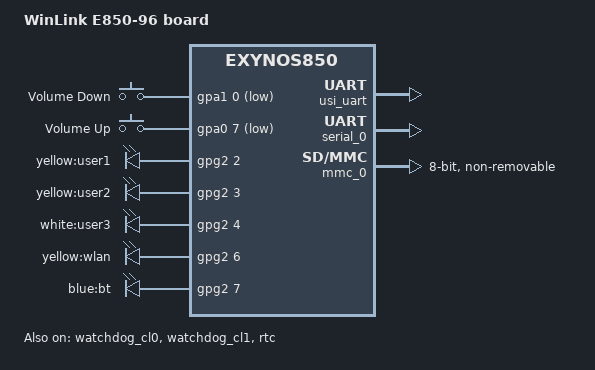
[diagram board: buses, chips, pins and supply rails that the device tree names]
// SPDX-License-Identifier: GPL-2.0
/*
 * WinLink E850-96 board device tree source
 *
 * Copyright (C) 2018 Samsung Electronics Co., Ltd.
 * Copyright (C) 2021 Linaro Ltd.
 *
 * Device tree source file for WinLink's E850-96 board which is based on
 * Samsung Exynos850 SoC.
 */

/dts-v1/;

#include "exynos850.dtsi"
#include <dt-bindings/gpio/gpio.h>
#include <dt-bindings/input/input.h>

#define BOARD_ID	0x0
#define BOARD_REV	0x2

/ {
	model = "WinLink E850-96 board";
	compatible = "winlink,e850-96", "samsung,exynos850";
	board_id = <BOARD_ID>;
	board_rev = <BOARD_REV>;

	chosen {
		stdout-path = &serial_0;
	};

	gpio-keys {
		compatible = "gpio-keys";
		pinctrl-names = "default";
		pinctrl-0 = <&key_voldown_pins &key_volup_pins>;

		volume-down-key {
			label = "Volume Down";
			linux,code = <KEY_VOLUMEDOWN>;
			gpios = <&gpa1 0 GPIO_ACTIVE_LOW>;
		};

		volume-up-key {
			label = "Volume Up";
			linux,code = <KEY_VOLUMEUP>;
			gpios = <&gpa0 7 GPIO_ACTIVE_LOW>;
		};
	};

	leds {
		compatible = "gpio-leds";

		/* HEART_BEAT_LED */
		user_led1: led-1 {
			label = "yellow:user1";
			gpios = <&gpg2 2 GPIO_ACTIVE_HIGH>;
			linux,default-trigger = "heartbeat";
		};

		/* eMMC_LED */
		user_led2: led-2 {
			label = "yellow:user2";
			gpios = <&gpg2 3 GPIO_ACTIVE_HIGH>;
			linux,default-trigger = "mmc0";
		};

		/* SD_LED */
		user_led3: led-3 {
			label = "white:user3";
			gpios = <&gpg2 4 GPIO_ACTIVE_HIGH>;
			linux,default-trigger = "mmc2";
		};

		/* WIFI_LED */
		wlan_active_led: led-4 {
			label = "yellow:wlan";
			gpios = <&gpg2 6 GPIO_ACTIVE_HIGH>;
			linux,default-trigger = "phy0tx";
			default-state = "off";
		};

		/* BLUETOOTH_LED */
		bt_active_led: led-5 {
			label = "blue:bt";
			gpios = <&gpg2 7 GPIO_ACTIVE_HIGH>;
			linux,default-trigger = "hci0rx";
			default-state = "off";
		};
	};
};

&oscclk {
	clock-frequency = <26000000>;
};

&rtcclk {
	clock-frequency = <32768>;
};

&usi_uart {
	samsung,clkreq-on; /* needed for UART mode */
	status = "okay";
};

&serial_0 {
	status = "okay";
	pinctrl-names = "default";
	pinctrl-0 = <&uart1_pins>;
};

&watchdog_cl0 {
	status = "okay";
};

&watchdog_cl1 {
	status = "okay";
};

&rtc {
	status = "okay";
};

&mmc_0 {
	status = "okay";
	mmc-hs200-1_8v;
	mmc-hs400-1_8v;
	cap-mmc-highspeed;
	non-removable;
	broken-cd;
	mmc-hs400-enhanced-strobe;
	card-detect-delay = <200>;
	clock-frequency = <800000000>;
	bus-width = <8>;
	samsung,dw-mshc-ciu-div = <3>;
	samsung,dw-mshc-sdr-timing = <0 4>;
	samsung,dw-mshc-ddr-timing = <2 4>;
	samsung,dw-mshc-hs400-timing = <0 2>;

	pinctrl-names = "default";
	pinctrl-0 = <&sd0_clk_pins &sd0_cmd_pins &sd0_rdqs_pins &sd0_nreset_pins
		     &sd0_bus1_pins &sd0_bus4_pins &sd0_bus8_pins>;
};

&pinctrl_alive {
	key_voldown_pins: key-voldown-pins {
		samsung,pins = "gpa1-0";
		samsung,pin-function = <EXYNOS_PIN_FUNC_EINT>;
		samsung,pin-pud = <EXYNOS_PIN_PULL_NONE>;
		samsung,pin-drv = <EXYNOS5420_PIN_DRV_LV1>;
	};

	key_volup_pins: key-volup-pins {
		samsung,pins = "gpa0-7";
		samsung,pin-function = <EXYNOS_PIN_FUNC_EINT>;
		samsung,pin-pud = <EXYNOS_PIN_PULL_NONE>;
		samsung,pin-drv = <EXYNOS5420_PIN_DRV_LV1>;
	};
};
